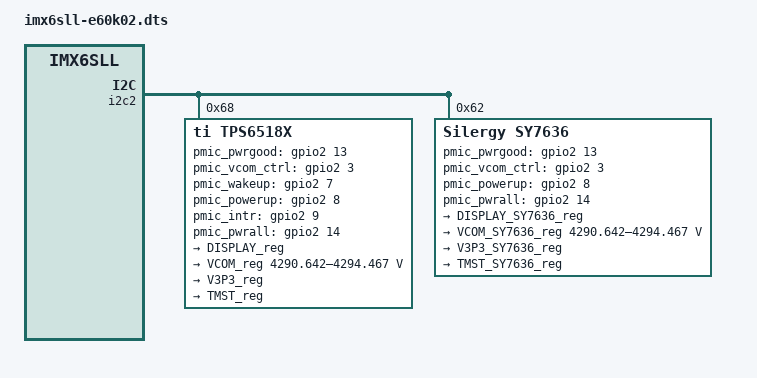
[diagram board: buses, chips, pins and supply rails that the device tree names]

#include "imx6sll-e60k02-base.dts"

&i2c2 {
	tps6518x@68 {
		compatible = "ti,tps6518x";
		reg = <0x68>;
		/*
		 * power sequencing for TPS65180/65181
		 */
		pwr_seq0 = <0xe1>; /* [Vddh-seq=3 | Vpos-seq=2 | Vee-seq=0 | Vneg-seq=1] */
		pwr_seq1 = <0x30>; /* [Vneg-dly1=3 |Vee-dly0=0]  mSec */
		pwr_seq2 = <0x33>; /* [Vddh-dly3=3 | Vpos-dly2=3] mSec */
		/*
		 * power sequencing for TPS65185/65186
		 */
		upseq0 = <0xe1>;
		upseq1 = <0x00>;
		dwnseq0 = <0x1e>;
		dwnseq1 = <0xe0>;

		gpio_pmic_pwrgood = <&gpio2 13 0>;
		gpio_pmic_vcom_ctrl = <&gpio2 3 GPIO_ACTIVE_HIGH>;
		gpio_pmic_wakeup = <&gpio2 7 0>;
		gpio_pmic_powerup = <&gpio2 8 GPIO_ACTIVE_HIGH>;
		gpio_pmic_intr = <&gpio2 9 0>;

		/* gpio_pmic_v3p3 = <&gpio2 14 GPIO_ACTIVE_HIGH>; */
		gpio_pmic_pwrall = <&gpio2 14 GPIO_ACTIVE_HIGH>;

		regulators {
			DISPLAY_reg: DISPLAY {
				regulator-name = "DISPLAY";
			};

			VCOM_reg: VCOM {
				regulator-name = "VCOM";
				/* 2's-compliment, -4325000 */
				regulator-min-microvolt = <0xffbe0178>;
				/* 2's-compliment, -500000 */
				regulator-max-microvolt = <0xfff85ee0>;
			};

			V3P3_reg: V3P3 {
				regulator-name = "V3P3";
			};

			TMST_reg: TMST {
				regulator-name = "TMST";
			};

		};
	};
};
&i2c2 {
	sy7636@62 {
		compatible = "Silergy,sy7636";
		reg = <0x62>;
		/*
		 * power on delay for SY7636
		 * 0x0 : 0ms
		 * 0x1 : 1ms
		 * 0x2 : 2ms
		 * 0x3 : 4ms
		 * chip default is 2ms .
		 */
		on_delay1 = <0x2>;
		on_delay2 = <0x2>;
		on_delay3 = <0x2>;
		on_delay4 = <0x2>;


		/*
		 * VLDO Voltage Adjustment Control 
		 * 0x0 = reserved
		 * 0x1 = +/-18V
		 * 0x2 = +/-15.25V
		 * 0x3 = +/-15V (default)
		 * 0x4 = +/-14.75V
		 * 0x5 = +/-14.5V
		 * 0x6 = +/-14.25V
		 * 0x7 = reserved
		VLDO = <0x2>;
		 */
		
		gpio_pmic_pwrgood = <&gpio2 13 0>;
		gpio_pmic_vcom_ctrl = <&gpio2 3 GPIO_ACTIVE_HIGH>;
		gpio_pmic_powerup = <&gpio2 8 GPIO_ACTIVE_HIGH>;

		/* gpio_pmic_v3p3 = <&gpio2 14 GPIO_ACTIVE_HIGH>; */
		gpio_pmic_pwrall = <&gpio2 14 GPIO_ACTIVE_HIGH>;

		regulators {
			DISPLAY_SY7636_reg: DISPLAY_SY7636 {
				regulator-name = "DISPLAY_SY7636";
			};

			VCOM_SY7636_reg: VCOM_SY7636 {
				regulator-name = "VCOM_SY7636";
				/* 2's-compliment, -4325000 */
				regulator-min-microvolt = <0xffbe0178>;
				/* 2's-compliment, -500000 */
				regulator-max-microvolt = <0xfff85ee0>;
			};

			V3P3_SY7636_reg: V3P3_SY7636 {
				regulator-name = "V3P3_SY7636";
			};

			TMST_SY7636_reg: TMST_SY7636 {
				regulator-name = "TMST_SY7636";
			};

		};
	};
};



